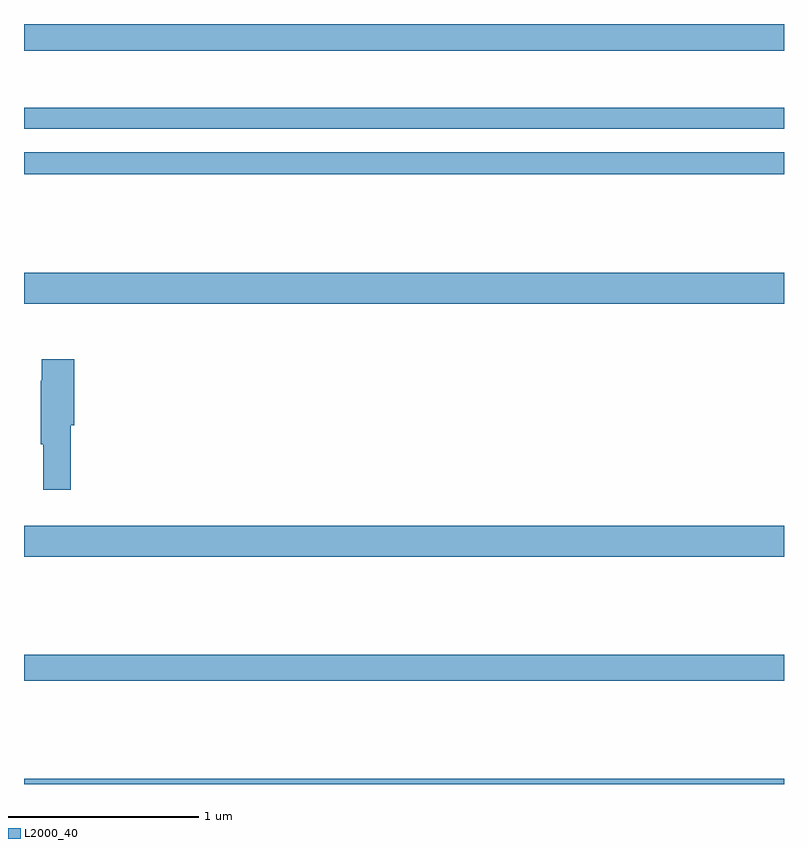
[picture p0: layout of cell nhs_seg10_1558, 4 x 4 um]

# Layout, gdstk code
import gdstk
lib = gdstk.Library(unit=1e-6, precision=1e-09)
def R(c, l, rs):  # rectangles x0, y0, x1, y1
    for r in rs: c.add(gdstk.rectangle(r[:2], r[2:], *l))
def P(c, l, *ps):  # polygons
    for p in ps: c.add(gdstk.Polygon(p, *l))
L2000_40 = (2000, 40)

nhs_seg10_1558 = lib.new_cell('nhs_seg10_1558')
R(nhs_seg10_1558, L2000_40, [(193,1252.5,197,1252.528), (193,1253.044,197,1253.18), (193,1253.696,197,1253.86), (193,1255.028,197,1255.192), (193,1255.708,197,1255.824), (193,1255.95,197,1256.059), (193,1256.36,197,1256.5)])
P(nhs_seg10_1558, L2000_40, [(193.247,1254.387),(193.265,1254.387),(193.265,1254.736),(193.094,1254.736),(193.094,1254.623),(193.087,1254.623),(193.087,1254.287),(193.1,1254.287),(193.1,1254.048),(193.247,1254.048)])

lib.write_gds('nhs_seg10_1558.gds')
